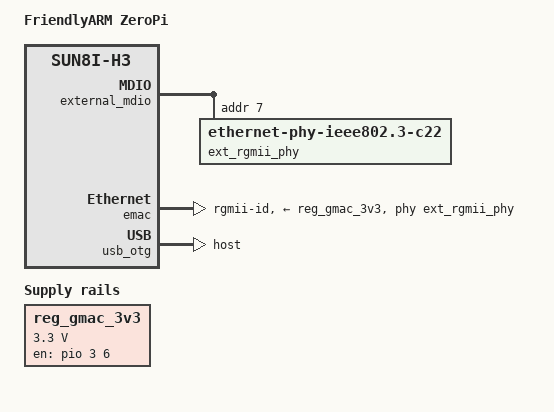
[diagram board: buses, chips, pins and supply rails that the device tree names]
#include "sun8i-h3-nanopi.dtsi"
/ {
	model = "FriendlyARM ZeroPi";
	compatible = "friendlyarm,zeropi", "allwinner,sun8i-h3";
	aliases {
		ethernet0 = &emac;
	};
	reg_gmac_3v3: gmac-3v3 {
		compatible = "regulator-fixed";
		regulator-name = "gmac-3v3";
		regulator-min-microvolt = <3300000>;
		regulator-max-microvolt = <3300000>;
		startup-delay-us = <100000>;
		enable-active-high;
		gpio = <&pio 3 6 GPIO_ACTIVE_HIGH>;  
	};
};
&external_mdio {
	ext_rgmii_phy: ethernet-phy@7 {
		compatible = "ethernet-phy-ieee802.3-c22";
		reg = <7>;
	};
};
&emac {
	pinctrl-names = "default";
	pinctrl-0 = <&emac_rgmii_pins>;
	phy-supply = <&reg_gmac_3v3>;
	phy-handle = <&ext_rgmii_phy>;
	phy-mode = "rgmii-id";
	allwinner,leds-active-low;
	status = "okay";
};
&usb_otg {
	status = "okay";
	dr_mode = "host";
};
